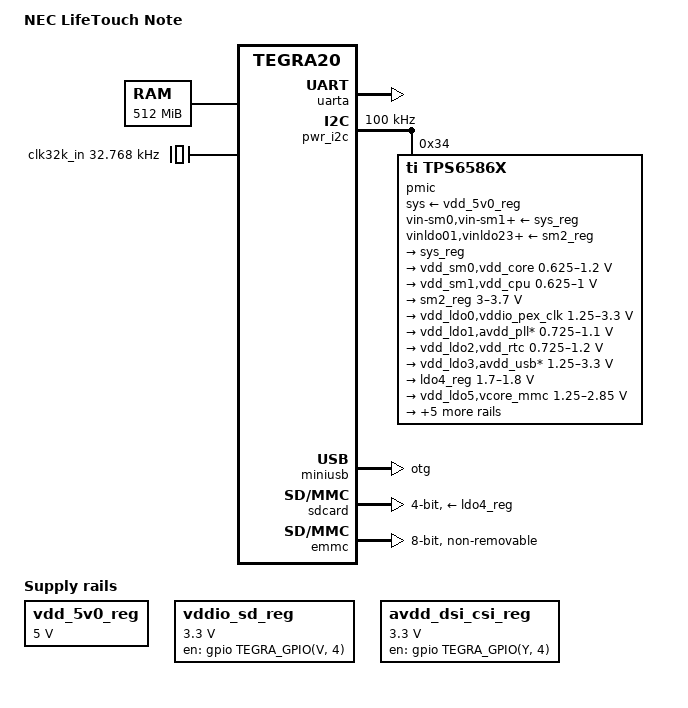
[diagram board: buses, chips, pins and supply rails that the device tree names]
// SPDX-License-Identifier: GPL-2.0
/dts-v1/;

#include <dt-bindings/input/input.h>
#include "tegra20.dtsi"

/ {
	model = "NEC LifeTouch Note";
	compatible = "nec,ltna7", "nvidia,tegra20";

	chosen {
		stdout-path = &uarta;
	};

	aliases {
		i2c0 = &pwr_i2c;

		serial0 = &uarta;
		
		usb0 = &miniusb;

		rtc0 = &pmic;
		rtc1 = "/rtc@7000e000";
		
		mmc0 = &emmc; /* eMMC */
		mmc1 = &sdcard; /* MicroSD */
	};

	memory {
		reg = <0x00000000 0x20000000>;
	};

#if 0
	host1x@50000000 {
		dc@54200000 {
			rgb {
				status = "okay";

				port {
					dpi_output: endpoint {
						remote-endpoint = <&panel_input>;
						bus-width = <24>;
					};
				};
			};
		};
	};
#endif

	pinmux@70000014 {
		pinctrl-names = "default";
		pinctrl-0 = <&state_default>;

		state_default: pinmux {
			ata {
				nvidia,pins = "ata", "atd", "ate",
					"dap2", "dap4", "gmb", "gmd", "spia",
					"spib", "spic";
				nvidia,function = "gmi";
			};
			atb {
				nvidia,pins = "atb", "gma", "gme";
				nvidia,function = "sdio4";
			};
			atc {
				nvidia,pins = "atc";
				nvidia,function = "ide";
			};
			cdev1 {
				nvidia,pins = "cdev1";
				nvidia,function = "plla_out";
			};
			cdev2 {
				nvidia,pins = "cdev2";
				nvidia,function = "osc";
			};
			crtp {
				nvidia,pins = "crtp";
				nvidia,function = "crt";
			};
			csus {
				nvidia,pins = "csus";
				nvidia,function = "vi_sensor_clk";
			};
			dap1 {
				nvidia,pins = "dap1";
				nvidia,function = "dap1";
			};
			dap3 {
				nvidia,pins = "dap3";
				nvidia,function = "dap3";
			};
			ddc {
				nvidia,pins = "ddc";
				nvidia,function = "i2c2";
			};
			dta {
				nvidia,pins = "dta", "dtb", "dtc", "dtd", "dte";
				nvidia,function = "rsvd1";
			};
			dtf {
				nvidia,pins = "dtf";
				nvidia,function = "i2c3";
			};
			gpu {
				nvidia,pins = "gpu";
				nvidia,function = "pwm";
			};
			gpu7 {
				nvidia,pins = "gpu7";
				nvidia,function = "rtck";
			};
			gpv {
				nvidia,pins = "gpv", "slxa", "slxk";
				nvidia,function = "pcie";
			};
			hdint {
				nvidia,pins = "hdint", "pta";
				nvidia,function = "hdmi";
			};
			i2cp {
				nvidia,pins = "i2cp";
				nvidia,function = "i2cp";
			};
			irrx {
				nvidia,pins = "irrx", "irtx";
				nvidia,function = "uarta";
			};
			kbca {
				nvidia,pins = "kbca", "kbcb", "kbcc", "kbcd", "kbce", "kbcf";
				nvidia,function = "kbc";
			};
			lcsn {
				nvidia,pins = "lcsn", "ld0", "ld1", "ld2",
					"ld3", "ld4", "ld5", "ld6", "ld7",
					"ld8", "ld9", "ld10", "ld11", "ld12",
					"ld13", "ld14", "ld15", "ld16", "ld17",
					"ldc", "ldi", "lhp0", "lhp1", "lhp2",
					"lhs", "lm0", "lm1", "lpp", "lpw0",
					"lpw1", "lpw2", "lsc0", "lsc1", "lsck",
					"lsda", "lsdi", "lspi", "lvp0", "lvp1",
					"lvs";
				nvidia,function = "displaya";
			};
			owc {
				nvidia,pins = "owc";
				nvidia,function = "owr";
			};
			pmc {
				nvidia,pins = "pmc";
				nvidia,function = "pwr_on";
			};
			rm {
				nvidia,pins = "rm";
				nvidia,function = "i2c1";
			};
			sdb {
				nvidia,pins = "sdb", "sdc", "sdd";
				nvidia,function = "sdio3";
			};
			sdio1 {
				nvidia,pins = "sdio1";
				nvidia,function = "sdio1";
			};
			gmc {
				nvidia,pins = "gmc", "slxc", "slxd";
				nvidia,function = "spi4";
			};
			spdi {
				nvidia,pins = "spdi", "spdo";
				nvidia,function = "rsvd2";
			};
			spid {
				nvidia,pins = "spid", "spie", "spif";
				nvidia,function = "spi1";
			};
			uac {
				nvidia,pins = "uac";
				nvidia,function = "rsvd4";
			};
			spig {
				nvidia,pins = "spig", "spih";
				nvidia,function = "spi2_alt";
			};
			uaa {
				nvidia,pins = "uaa", "uab", "uda";
				nvidia,function = "ulpi";
			};
			uad {
				nvidia,pins = "uad";
				nvidia,function = "irda";
			};
			uca {
				nvidia,pins = "uca", "ucb";
				nvidia,function = "uartc";
			};
			conf_ata {
				nvidia,pins = "ata", "atb", "atc", "atd",
					"ate", "dap2", "dap4", "dtb", "dte",
					"dtf", "gma", "gmb", "gmd", "gme",
					"gpu", "gpu7", "gpv", "i2cp", "pmc",
					"rm", "sdb", "spdo", "uac",
					"ck32", "ddrc", "pmca", "pmcb",
					"pmcc", "pmcd", "xm2c", "xm2d";
				nvidia,pull = <TEGRA_PIN_PULL_NONE>;
				nvidia,tristate = <TEGRA_PIN_DISABLE>;
			};
			conf_crtp {
				nvidia,pins = "crtp", "dap1", "dap3", 
					"dtc", "pta", "slxa", "slxc", "slxd",
					"slxk", "spdi", "uda";
				nvidia,pull = <TEGRA_PIN_PULL_NONE>;
				nvidia,tristate = <TEGRA_PIN_ENABLE>;
			};
			conf_cdev1 {
				nvidia,pins = "cdev1", "dtd", "ld0", "ld1",
					"ld2", "ld3", "ld4", "ld5", "ld6", "ld7",
					"ld8", "ld9", "ld10", "ld11", "ld12",
					"ld13", "ld14", "ld15", "ld16", "ld17",
					"ldi", "lhp0", "lhp1", "lhp2", "lpp",
					"lvp1", "spib", "spid", "spif";
				nvidia,pull = <TEGRA_PIN_PULL_DOWN>;
				nvidia,tristate = <TEGRA_PIN_DISABLE>;
			};
			conf_cdev2 {
				nvidia,pins = "cdev2", "csus", "spia";
				nvidia,pull = <TEGRA_PIN_PULL_DOWN>;
				nvidia,tristate = <TEGRA_PIN_ENABLE>;
			};
			conf_ddc {
				nvidia,pins = "ddc", "dta", "gmc", "irrx",
					"irtx", "kbca", "kbcb", "kbcc", "kbcd",
					"kbce", "kbcf", "ldc", "lhs", "lsc0",
					"lspi", "lvs", "sdc", "sdd", "sdio1",
					"spic", "spie", "spig", "spih", "uad", 
					"pmce";
				nvidia,pull = <TEGRA_PIN_PULL_UP>;
				nvidia,tristate = <TEGRA_PIN_DISABLE>;
			};
			conf_hdint {
				nvidia,pins = "hdint", "lcsn", "lm0", "lm1",
					"lpw0", "lpw1", "lpw2", "lsc1", "lsck",
					"lsda", "lsdi", "lvp0", "owc", "uaa",
					"uab", "uca", "ucb";
				nvidia,pull = <TEGRA_PIN_PULL_UP>;
				nvidia,tristate = <TEGRA_PIN_ENABLE>;
			};
			conf_lc {
				nvidia,pins = "lc", "ls";
				nvidia,pull = <TEGRA_PIN_PULL_UP>;
			};
			conf_ld17_0 {
				nvidia,pins = "ld17_0", "ld19_18", "ld21_20",
					"ld23_22";
				nvidia,pull = <TEGRA_PIN_PULL_DOWN>;
			};
		};
	};

	uarta: serial@70006000 {
		status = "okay";
	};

	backlight: pwm@7000a000 {
		status = "okay";
	};
	
	vdd_5v0_reg: regulator-5v0 {
		compatible = "regulator-fixed";
		regulator-name = "vdd_5v0";
		regulator-min-microvolt = <5000000>;
		regulator-max-microvolt = <5000000>;
		regulator-always-on;
	};
	
	vddio_sd_reg: regulator-vddsio {
		compatible = "regulator-fixed";
		regulator-name = "EN_VDDIO_SD,vddio_sd";
		regulator-min-microvolt = <3300000>;
		regulator-max-microvolt = <3300000>;
		regulator-boot-on;
		gpio = <&gpio TEGRA_GPIO(V, 4) GPIO_ACTIVE_HIGH>;
		enable-active-high;
	};
	
	avdd_dsi_csi_reg: regulator-dsi-csi {
		compatible = "regulator-fixed";
		regulator-name = "AVDD_DSI_CSI,avdd_dsi_csi";
		regulator-min-microvolt = <3300000>;
		regulator-max-microvolt = <3300000>;
		regulator-boot-on;
		gpio = <&gpio TEGRA_GPIO(Y, 4) GPIO_ACTIVE_HIGH>;
		enable-active-high;
	};

	pwr_i2c: i2c@7000d000 {
		status = "okay";
		clock-frequency = <100000>;

		pmic: tps6586x@34 {
			compatible = "ti,tps6586x";
			reg = <0x34>;
			interrupts = <GIC_SPI 86 IRQ_TYPE_LEVEL_HIGH>;

			#gpio-cells = <2>;
			gpio-controller;

			ti,system-power-controller;

			sys-supply = <&vdd_5v0_reg>;
			vin-sm0-supply = <&sys_reg>;
			vin-sm1-supply = <&sys_reg>;
			vin-sm2-supply = <&sys_reg>;
			vinldo01-supply = <&sm2_reg>;
			vinldo23-supply = <&sm2_reg>;
			vinldo4-supply = <&sm2_reg>;
			vinldo678-supply = <&sm2_reg>;
			vinldo9-supply = <&sm2_reg>;

			regulators {
				sys_reg: sys {
					regulator-name = "vdd_sys";
					regulator-always-on;
				};

				sm0 {
					regulator-name = "vdd_sm0,vdd_core";
					regulator-min-microvolt = <625000>;
					regulator-max-microvolt = <1200000>;
					regulator-always-on;
				};

				sm1 {
					regulator-name = "vdd_sm1,vdd_cpu";
					regulator-min-microvolt = <625000>;
					regulator-max-microvolt = <1000000>;
					regulator-always-on;
				};

				sm2_reg: sm2 {
					regulator-name = "vdd_sm2,vin_ldo*";
					regulator-min-microvolt = <3000000>;
					regulator-max-microvolt = <3700000>;
					regulator-always-on;
				};

				ldo0 {
					regulator-name = "vdd_ldo0,vddio_pex_clk";
					regulator-min-microvolt = <1250000>;
					regulator-max-microvolt = <3300000>;
				};

				ldo1 {
					regulator-name = "vdd_ldo1,avdd_pll*";
					regulator-min-microvolt = <725000>;
					regulator-max-microvolt = <1100000>;
					regulator-always-on;
				};

				ldo2 {
					regulator-name = "vdd_ldo2,vdd_rtc";
					regulator-min-microvolt = <725000>;
					regulator-max-microvolt = <1200000>;
				};

				ldo3 {
					regulator-name = "vdd_ldo3,avdd_usb*";
					regulator-min-microvolt = <1250000>;
					regulator-max-microvolt = <3300000>;
					regulator-always-on;
				};

				ldo4_reg: ldo4 {
					regulator-name = "vdd_ldo4,avdd_osc,vddio_*)";
					regulator-min-microvolt = <1700000>;
					regulator-max-microvolt = <1800000>;
					regulator-always-on;
				};

				ldo5 {
					regulator-name = "vdd_ldo5,vcore_mmc";
					regulator-min-microvolt = <1250000>;
					regulator-max-microvolt = <2850000>;
					regulator-always-on;
				};

				ldo6 {
					regulator-name = "vdd_ldo6,avdd_vdac";
					regulator-min-microvolt = <1250000>;
					regulator-max-microvolt = <2850000>;
				};

				ldo7 {
					regulator-name = "vdd_ldo7,avdd_hdmi";
					regulator-min-microvolt = <1250000>;
					regulator-max-microvolt = <3300000>;
				};

				ldo8 {
					regulator-name = "vdd_ldo8,avdd_hdmi_pll";
					regulator-min-microvolt = <1250000>;
					regulator-max-microvolt = <2700000>;
				};

				ldo9 {
					regulator-name = "vdd_ldo9,avdd_2v85,vdd_ddr_rx";
					regulator-min-microvolt = <1250000>;
					regulator-max-microvolt = <2850000>;
					regulator-always-on;
				};

				ldo_rtc {
					regulator-name = "vdd_rtc_out,vdd_cell";
					regulator-min-microvolt = <1250000>;
					regulator-max-microvolt = <3300000>;
					regulator-always-on;
				};
			};
		};
	};

	miniusb: usb@c5000000 {
		status = "okay";
		dr_mode = "otg";
	};

	usb-phy@c5000000 {
		status = "okay";
	};

	sdcard: mmc@c8000400 {
		status = "okay";
		bus-width = <4>;
		//broken-cd;
		//cd-gpios = <&gpio TEGRA_GPIO(I, 5) GPIO_ACTIVE_LOW>;
		//wp-gpios = <&gpio TEGRA_GPIO(H, 1) GPIO_ACTIVE_HIGH>;
		//power-gpios = <&gpio TEGRA_GPIO(T, 3) GPIO_ACTIVE_HIGH>;

		vmmc-supply = <&ldo4_reg>;
		vqmmc-supply = <&vddio_sd_reg>;
	};

	emmc: mmc@c8000600 {
		status = "okay";
		bus-width = <8>;
		non-removable;
	};

	/* PMIC has a built-in 32KHz oscillator which is used by PMC */
	clk32k_in: clock-32k-in {
		compatible = "fixed-clock";
		#clock-cells = <0>;
		clock-frequency = <32768>;
		clock-output-names = "tps658621-out32k";
	};

#if 0
	panel: panel {
		compatible = "simple-panel";

		power-supply = <&ldo4_reg>;

		backlight = <&backlight>;
		
		port {
			panel_input: endpoint {
				remote-endpoint = <&dpi_output>;
			};
		};

		display-timings {
			timing@0 {
				clock-frequency = <24500000>;

				hactive = <800>;
				hfront-porch = <0>;
				hback-porch = <0>;
				hsync-len = <0>;

				vactive = <480>;
				vfront-porch = <0>;
				vback-porch = <0>;
				vsync-len = <0>;
			};
		};
	};
#endif
};
